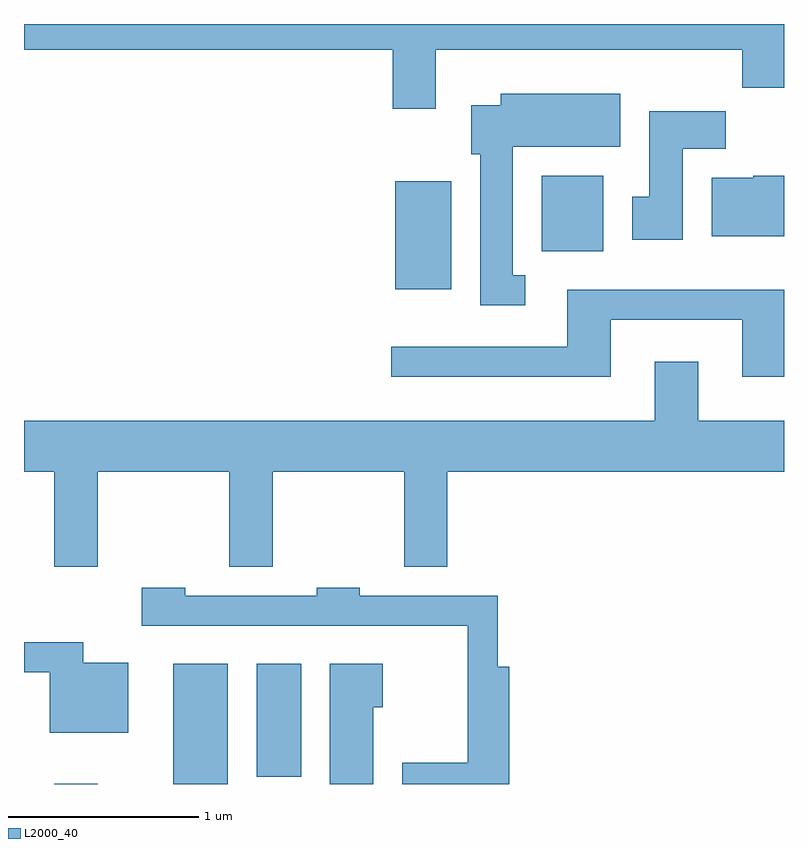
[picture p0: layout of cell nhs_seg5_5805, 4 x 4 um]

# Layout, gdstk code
import gdstk
lib = gdstk.Library(unit=1e-6, precision=1e-09)
def R(c, l, rs):  # rectangles x0, y0, x1, y1
    for r in rs: c.add(gdstk.rectangle(r[:2], r[2:], *l))
def P(c, l, *ps):  # polygons
    for p in ps: c.add(gdstk.Polygon(p, *l))
L2000_40 = (2000, 40)

nhs_seg5_5805 = lib.new_cell('nhs_seg5_5805')
R(nhs_seg5_5805, L2000_40, [(357.771,1424.072,357.999,1424.074), (358.396,1424.072,358.684,1424.704), (358.836,1424.111,359.069,1424.704), (359.566,1426.676,359.859,1427.244), (360.336,1426.876,360.659,1427.274)])
P(nhs_seg5_5805, L2000_40, [(359.779,1427.936),(361.391,1427.936),(361.391,1427.736),(361.611,1427.736),(361.611,1428.072),(357.611,1428.072),(357.611,1427.936),(359.551,1427.936),(359.551,1427.626),(359.779,1427.626)],
  [(360.248,1426.749),(360.184,1426.749),(360.184,1427.426),(360.749,1427.426),(360.749,1427.704),(360.121,1427.704),(360.121,1427.644),(359.966,1427.644),(359.966,1427.386),(360.011,1427.386),(360.011,1426.591),(360.248,1426.591)],
  [(361.079,1427.416),(361.304,1427.416),(361.304,1427.614),(360.901,1427.614),(360.901,1427.164),(360.811,1427.164),(360.811,1426.936),(361.079,1426.936)],
  [(361.611,1427.274),(361.45,1427.274),(361.45,1427.264),(361.231,1427.264),(361.231,1426.956),(361.611,1426.956)],
  [(360.699,1426.516),(361.391,1426.516),(361.391,1426.216),(361.611,1426.216),(361.611,1426.674),(360.471,1426.674),(360.471,1426.374),(359.543,1426.374),(359.543,1426.216),(360.699,1426.216)],
  [(357.999,1425.716),(358.691,1425.716),(358.691,1425.216),(358.919,1425.216),(358.919,1425.716),(359.611,1425.716),(359.611,1425.216),(359.839,1425.216),(359.839,1425.716),(361.611,1425.716),(361.611,1425.984),(361.159,1425.984),(361.159,1426.294),(360.931,1426.294),(360.931,1425.984),(357.611,1425.984),(357.611,1425.716),(357.771,1425.716),(357.771,1425.216),(357.999,1425.216)],
  [(360.164,1424.689),(360.104,1424.689),(360.104,1425.064),(359.379,1425.064),(359.379,1425.104),(359.151,1425.104),(359.151,1425.064),(358.459,1425.064),(358.459,1425.104),(358.231,1425.104),(358.231,1424.906),(359.946,1424.906),(359.946,1424.184),(359.603,1424.184),(359.603,1424.072),(360.164,1424.072)],
  [(358.159,1424.709),(357.924,1424.709),(357.924,1424.819),(357.611,1424.819),(357.611,1424.661),(357.746,1424.661),(357.746,1424.341),(358.159,1424.341)],
  [(359.449,1424.476),(359.499,1424.476),(359.499,1424.704),(359.221,1424.704),(359.221,1424.072),(359.449,1424.072)])

lib.write_gds('nhs_seg5_5805.gds')
